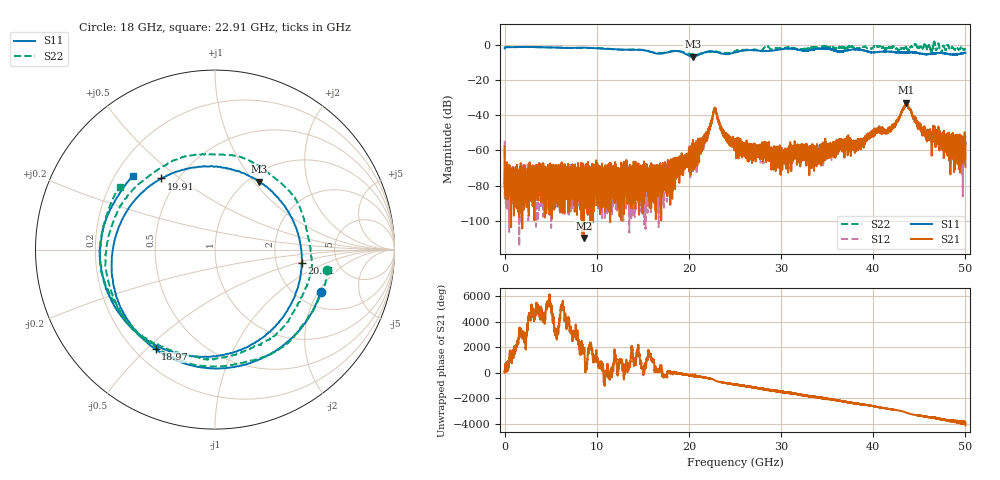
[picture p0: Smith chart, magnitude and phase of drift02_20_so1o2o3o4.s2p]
!Created with skrf (http://scikit-rf.org).
# Hz S RI R 50.0
!freq ReS11 ImS11 ReS21 ImS21 ReS12 ImS12 ReS22 ImS22
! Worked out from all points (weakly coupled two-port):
!   10001 points, 300 kHz to 50 GHz, reference 50 ohm
!   highest |S21| = -32.84 dB at 43.61 GHz (marker M1); lowest = -109.5 dB at 8.595 GHz (marker M2)
!   lowest |S11| = -6.9 dB at 20.41 GHz (marker M3), VSWR 2.64, Z = 55.9 + j53.1 ohm
!   |S11| at or under -10 dB: nowhere
!   |S22| runs from -5.7 to 2.3 dB; largest |S21 - S12| = 0.0031
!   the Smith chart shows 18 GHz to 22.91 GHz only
!   S11 on the Smith chart (normalised r, x): 18 GHz: 2.66, -2.10; 18.97 GHz: 0.28, -0.53; 19.91 GHz: 0.41, +0.43; 20.91 GHz: 2.80, -0.55; 22.91 GHz: 0.27, +0.36
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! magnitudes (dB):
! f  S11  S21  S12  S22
! 300 kHz  -2.1  -57.7  -54.5  -2.1
! 310.3 MHz  -1.4  -73.2  -93.1  -1.4
! 8.335 GHz  -1.7  -74.1  -75.4  -1.9
! 8.595 GHz  -1.7  -109.5  -93.5  -2.0
! 16.67 GHz  -5.2  -73.7  -73.8  -4.7
! 18 GHz  -4.0  -68.1  -75.7  -4.0
! 18.97 GHz  -3.8  -68.1  -68.3  -3.9
! 19.91 GHz  -6.1  -64.3  -64.7  -5.2
! 20.41 GHz  -6.9  -60.0  -61.0  -5.4
! 20.91 GHz  -6.2  -68.7  -56.5  -5.6
! 22.91 GHz  -4.2  -37.0  -36.9  -3.9
! 23.7 GHz  -5.2  -49.9  -49.5  -4.6
! 25 GHz  -4.5  -57.5  -56.2  -3.9
! 30.01 GHz  -2.7  -66.3  -61.8  -2.0
! 33.34 GHz  -3.0  -61.6  -59.8  -1.6
! 38.27 GHz  -2.8  -57.0  -56.9  -2.2
! 40.43 GHz  -4.3  -48.1  -48.6  -1.0
! 41.67 GHz  -4.0  -48.8  -48.3  -1.9
! 43.61 GHz  -4.5  -32.8  -33.6  -1.5
! 45.67 GHz  -5.4  -50.5  -50.9  -0.2
! 49.75 GHz  -4.8  -55.5  -52.7  -2.5
! 50 GHz  -4.7  -69.3  -64.5  -2.6
